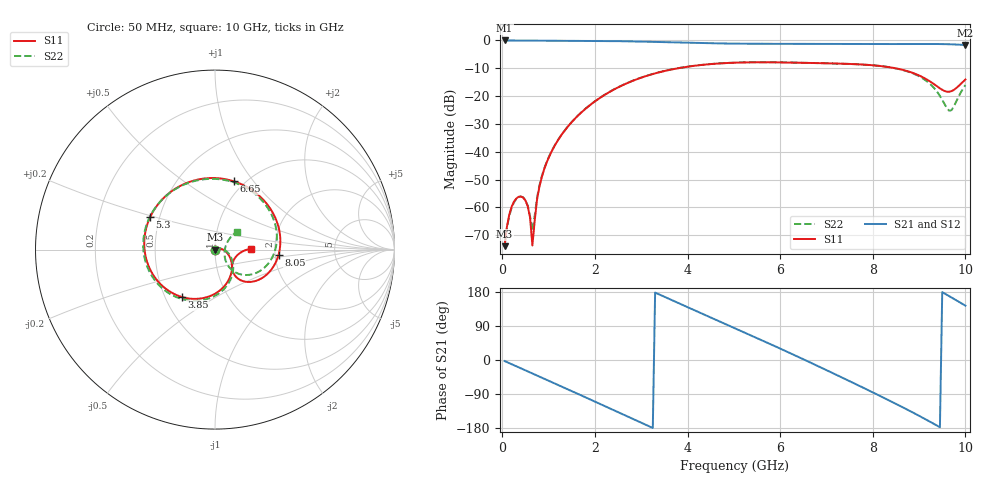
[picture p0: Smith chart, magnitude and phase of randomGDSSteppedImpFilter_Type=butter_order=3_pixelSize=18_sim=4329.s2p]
! freq	dB(S11)	phase(S11)	dB(S12)	phase(S12)
!  dB(S21)	phase(S21)	dB(S22)	phase(S22)
!S-par simulation data
#  GHz  S  DB  R 50
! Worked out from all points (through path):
!   200 points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, 50 MHz to 10 GHz, reference 50 ohm
!   highest |S21| = 0.00 dB at 50 MHz (marker M1); lowest = -1.7 dB at 10 GHz (marker M2)
!   group delay of S21, straight-line fit = 157 ps
!   lowest |S11| = -73.9 dB at 50 MHz (marker M3), VSWR 1.00, Z = 50 - j0.0147 ohm
!   |S11| at or under -10 dB: start of sweep to 3.79 GHz; 8.493 GHz to end of sweep
!   |S22| runs from -73.6 to -7.8 dB; largest |S21 - S12| = 0
!   S11 on the Smith chart (normalised r, x): 50 MHz: 1.00, -0.00; 3.85 GHz: 0.61, -0.36; 5.3 GHz: 0.44, +0.19; 6.65 GHz: 0.89, +0.81; 8.05 GHz: 2.09, -0.14; 10 GHz: 1.50, +0.01
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0.05  -73.91 -46.8  -0.00 -2.8  -0.00 -2.8  -73.57 -58.0
0.2  -59.82 -75.3  -0.02 -11.0  -0.02 -11.0  -60.22 -78.8
0.4  -56.07 -97.2  -0.03 -21.9  -0.03 -21.9  -56.05 -102.8
0.55  -59.55 -106.7  -0.04 -30.1  -0.04 -30.1  -59.41 -124.4
0.65  -73.65 -49.6  -0.05 -35.5  -0.05 -35.5  -68.43 160.8
0.75  -57.22 46.9  -0.05 -41.0  -0.05 -41.0  -56.52 71.0
0.95  -44.20 38.5  -0.06 -51.9  -0.06 -51.9  -44.02 46.7
1.75  -25.22 -6.8  -0.12 -95.9  -0.12 -95.9  -25.18 -2.8
2.65  -15.67 -57.5  -0.29 -146.0  -0.29 -146.0  -15.63 -53.7
3.4  -11.39 -100.0  -0.57 172.4  -0.57 172.4  -11.37 -95.2
3.85  -9.83 -125.2  -0.77 147.7  -0.77 147.7  -9.81 -119.4
5.05  -7.97 167.8  -1.15 82.5  -1.15 82.5  -7.95 177.8
5.3  -7.87 153.6  -1.18 68.9  -1.18 68.9  -7.86 164.8
6.05  -7.90 109.9  -1.22 27.4  -1.22 27.4  -7.89 125.4
6.65  -8.08 74.4  -1.22 -6.6  -1.22 -6.6  -8.07 93.1
6.7  -8.09 71.4  -1.22 -9.4  -1.22 -9.4  -8.09 90.4
7.45  -8.41 28.0  -1.26 -52.9  -1.26 -52.9  -8.41 48.7
8.05  -8.99 -4.9  -1.30 -88.4  -1.30 -88.4  -8.99 14.5
8.35  -9.59 -20.3  -1.29 -106.5  -1.29 -106.5  -9.60 -2.8
9.15  -13.85 -51.8  -1.26 -157.1  -1.26 -157.1  -14.44 -45.5
9.65  -18.43 -25.5  -1.36 168.6  -1.36 168.6  -25.25 -13.0
10  -14.04 1.2  -1.65 143.4  -1.65 143.4  -16.02 39.6
